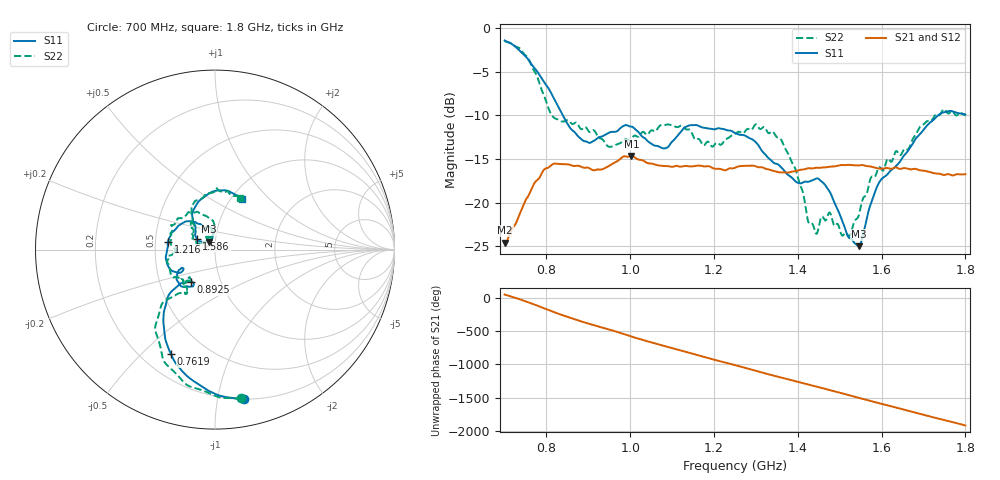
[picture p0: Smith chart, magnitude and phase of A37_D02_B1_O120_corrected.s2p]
! Created with skrf 1.9.0 (http://scikit-rf.org).
# Hz S RI R 50.0
!freq ReS11 ImS11 ReS21 ImS21 ReS12 ImS12 ReS22 ImS22
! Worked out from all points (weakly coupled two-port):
!   1601 points, 700 MHz to 1.8 GHz, reference 50 ohm
!   highest |S21| = -14.64 dB at 1.002 GHz (marker M1); lowest = -24.6 dB at 701.4 MHz (marker M2)
!   lowest |S11| = -25.0 dB at 1.546 GHz (marker M3), VSWR 1.12, Z = 46.5 + j4.16 ohm
!   |S11| at or under -10 dB: 838.9 MHz to 1.735 GHz (895.7 MHz wide, 69.6 % of centre)
!   |S22| runs from -23.8 to -1.5 dB; largest |S21 - S12| = 0.0034
!   S11 on the Smith chart (normalised r, x): 700 MHz: 0.20, -1.19; 761.9 MHz: 0.32, -0.62; 892.5 MHz: 0.72, -0.27; 1.216 GHz: 0.58, +0.06; 1.586 GHz: 0.81, +0.10; 1.8 GHz: 1.12, +0.70
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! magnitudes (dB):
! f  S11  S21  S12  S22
! 700 MHz  -1.4  -24.6  -24.3  -1.5
! 701.4 MHz  -1.4  -24.6  -24.2  -1.5
! 761.9 MHz  -4.0  -18.7  -18.7  -4.0
! 814.1 MHz  -7.7  -15.6  -15.7  -10.1
! 883.6 MHz  -12.7  -15.9  -15.8  -11.6
! 892.5 MHz  -13.0  -16.0  -16.0  -11.3
! 950.2 MHz  -12.0  -15.8  -15.8  -13.6
! 1.002 GHz  -11.3  -14.6  -14.7  -12.7
! 1.067 GHz  -13.5  -15.7  -15.7  -11.4
! 1.14 GHz  -11.2  -15.8  -15.8  -11.6
! 1.216 GHz  -11.5  -16.1  -16.1  -13.4
! 1.25 GHz  -12.0  -16.0  -15.9  -12.1
! 1.3 GHz  -13.1  -15.9  -15.8  -11.0
! 1.359 GHz  -15.9  -16.5  -16.5  -12.7
! 1.434 GHz  -17.4  -16.1  -16.0  -22.4
! 1.472 GHz  -18.5  -15.9  -15.9  -21.4
! 1.522 GHz  -24.0  -15.7  -15.7  -23.8
! 1.546 GHz  -25.0  -15.7  -15.7  -21.4
! 1.586 GHz  -18.5  -16.0  -16.0  -16.8
! 1.617 GHz  -16.6  -16.1  -16.0  -15.0
! 1.737 GHz  -9.9  -16.7  -16.7  -10.0
! 1.8 GHz  -9.9  -16.7  -16.7  -10.0
